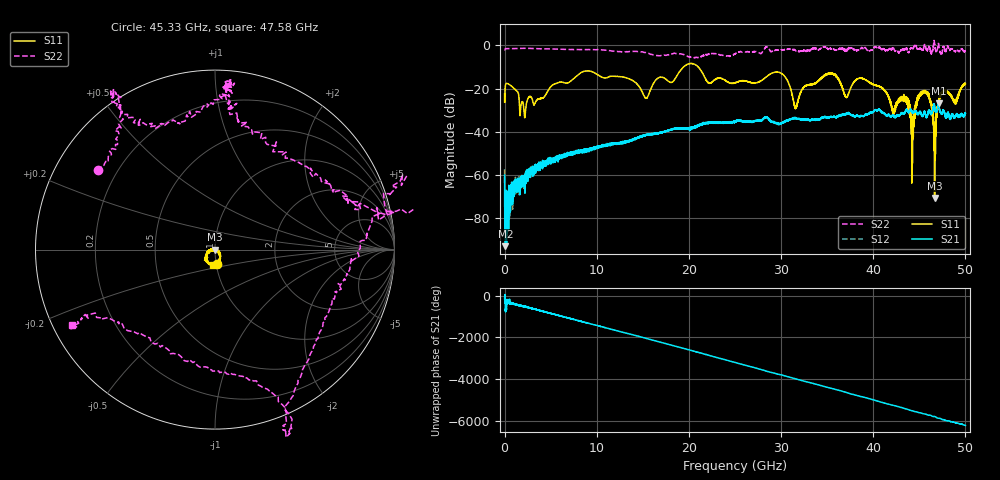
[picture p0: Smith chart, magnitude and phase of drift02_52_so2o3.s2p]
!Created with skrf (http://scikit-rf.org).
# Hz S RI R 50.0
!freq ReS11 ImS11 ReS21 ImS21 ReS12 ImS12 ReS22 ImS22
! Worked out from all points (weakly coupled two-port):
!   10001 points, 300 kHz to 50 GHz, reference 50 ohm
!   highest |S21| = -26.92 dB at 47.09 GHz (marker M1); lowest = -93.2 dB at 85.3 MHz (marker M2)
!   lowest |S11| = -70.8 dB at 46.66 GHz (marker M3), VSWR 1.00, Z = 50 + j0.013 ohm
!   |S11| at or under -10 dB: start of sweep to 19.42 GHz; 21 GHz to end of sweep
!   |S22| runs from -5.7 to 2.3 dB; largest |S21 - S12| = 0.0033
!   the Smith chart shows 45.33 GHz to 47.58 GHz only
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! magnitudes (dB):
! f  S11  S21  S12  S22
! 300 kHz  -22.5  -60.4  -57.5  -2.1
! 85.3 MHz  -18.6  -93.2  -81.9  -1.5
! 270.3 MHz  -17.6  -79.2  -70.4  -1.4
! 2.185 GHz  -33.6  -64.0  -62.6  -1.3
! 8.335 GHz  -12.5  -48.5  -48.7  -1.9
! 15.34 GHz  -24.5  -41.5  -41.4  -3.3
! 16.67 GHz  -15.1  -40.6  -40.8  -4.7
! 20.29 GHz  -8.4  -38.0  -38.3  -5.5
! 25 GHz  -17.4  -35.5  -35.3  -3.9
! 29.83 GHz  -12.6  -36.5  -36.5  -2.0
! 31.59 GHz  -29.2  -33.8  -34.0  -2.5
! 33.34 GHz  -18.0  -34.8  -34.5  -1.5
! 35.61 GHz  -13.0  -33.2  -33.2  -1.6
! 37.1 GHz  -24.2  -31.6  -31.7  -2.0
! 38.75 GHz  -15.3  -32.7  -32.7  -1.0
! 41.67 GHz  -23.8  -32.0  -32.2  -1.9
! 43.53 GHz  -24.9  -30.4  -30.4  -1.2
! 44.27 GHz  -34.9  -31.6  -31.3  -1.5
! 45.7 GHz  -22.0  -32.6  -32.4  -0.8
! 46.66 GHz  -70.8  -28.3  -27.9  1.0
! 47.09 GHz  -26.3  -26.9  -27.1  0.6
! 50 GHz  -17.7  -31.7  -31.2  -2.7
